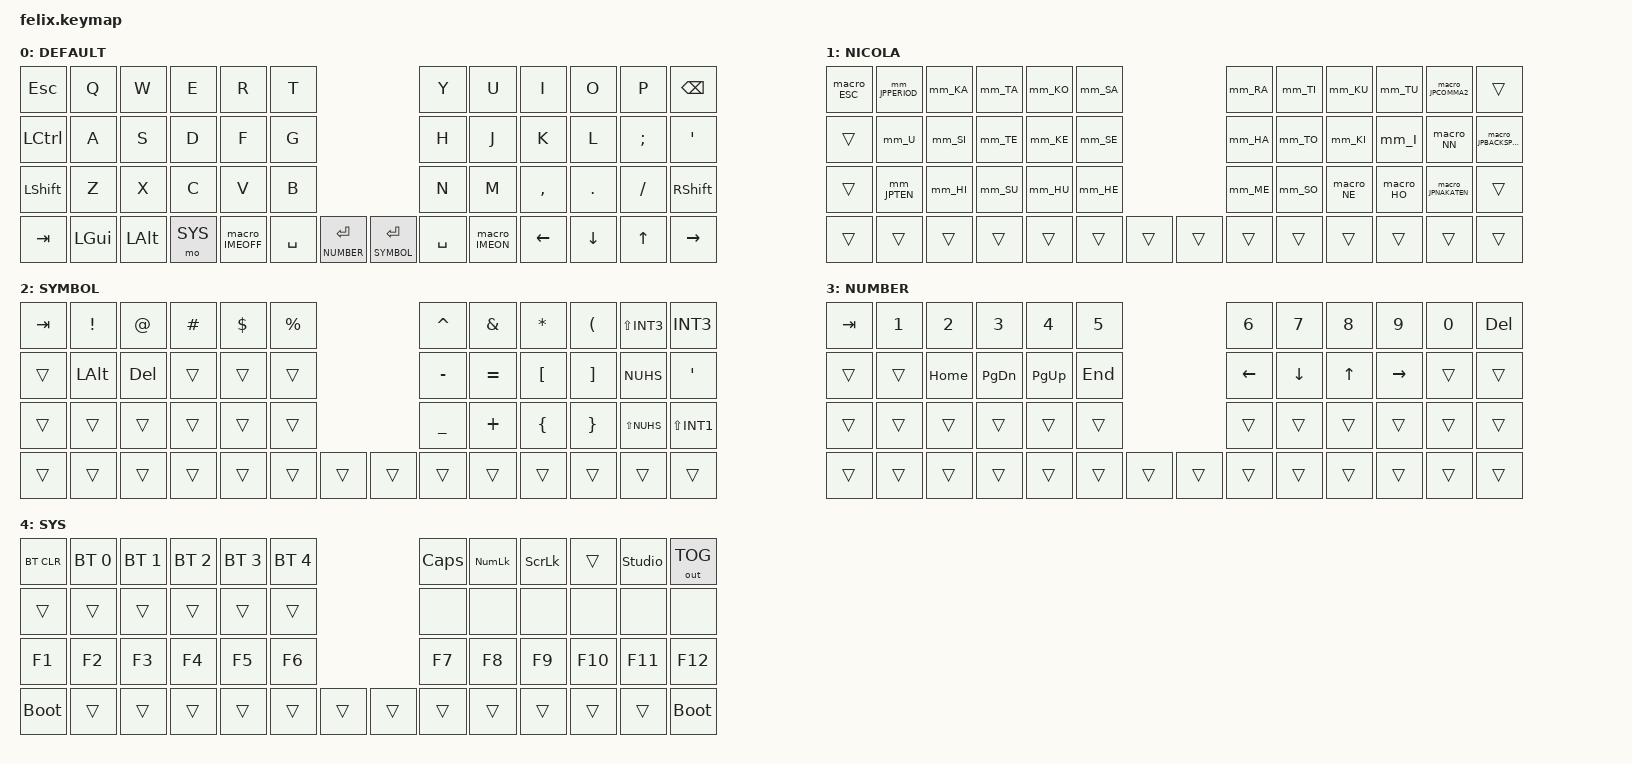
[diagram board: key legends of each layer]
/*
 * Copyright (c) 2020 The ZMK Contributors
 *
 * SPDX-License-Identifier: MIT
 */

#include <behaviors.dtsi>
#include <dt-bindings/zmk/bt.h>
#include <dt-bindings/zmk/keys.h>
#include <dt-bindings/zmk/outputs.h>

#define DEFAULT 0
#define NICOLA  1
#define SYMBOL  2
#define NUMBER  3
#define SYS     4

/ {
    behaviors {
        #include "macros.dtsi"
        #include "behaviors.keymap"
        hm: homerow_mods {
            compatible = "zmk,behavior-hold-tap";
            label = "HOMEROW_MODS";
            #binding-cells = <2>;
            tapping-term-ms = <200>;
            quick_tap_ms = <0>;
            flavor = "tap-preferred";
            bindings = <&kp>, <&kp>;

            quick-tap-ms = <180>;
            global-quick-tap;
        };

        ltq: ltq {
            compatible = "zmk,behavior-hold-tap";
            label = "LTQ";
            bindings = <&mo>, <&kp>;

            #binding-cells = <2>;
            tapping-term-ms = <600>;
            global-quick-tap;
            quick-tap-ms = <400>;
        };
    };

    combos {
        compatible = "zmk,combos";
        #include "combos.keymap"
        left_bkt {
            bindings = <&kp LEFT_BRACKET>;
            key-positions = <4 3>;
            timeout-ms = <50>;
        };

        right_bkt {
            bindings = <&kp RBKT>;
            key-positions = <7 8>;
            timeout-ms = <50>;
        };

        left_par {
            bindings = <&kp LEFT_PARENTHESIS>;
            key-positions = <15 16>;
            timeout-ms = <50>;
        };

        right_par {
            bindings = <&kp RIGHT_PARENTHESIS>;
            key-positions = <19 20>;
            timeout-ms = <50>;
        };

        left_brace {
            bindings = <&kp LEFT_BRACE>;
            key-positions = <27 28>;
            timeout-ms = <50>;
        };

        right_brace {
            bindings = <&kp RIGHT_BRACE>;
            key-positions = <32 31>;
            timeout-ms = <50>;
        };

        bac {
            bindings = <&kp BACKSLASH>;
            key-positions = <5 6>;
        };

        pipe {
            bindings = <&kp PIPE>;
            key-positions = <17 18>;
        };
    };

    keymap {
        compatible = "zmk,keymap";

        default_layer {
            bindings = <
&kp ESC    &kp Q     &kp W     &kp E    &kp R         &kp T                                          &kp Y      &kp U         &kp I      &kp O       &kp P          &kp BACKSPACE
&kp LCTRL  &kp A     &kp S     &kp D    &kp F         &kp G                                          &kp H      &kp J         &kp K      &kp L       &kp SEMICOLON  &kp SQT
&kp LSHFT  &kp Z     &kp X     &kp C    &kp V         &kp B                                          &kp N      &kp M         &kp COMMA  &kp PERIOD  &kp FSLH       &kp RSHFT
&kp TAB    &kp LGUI  &kp LALT  &mo SYS  &macro_IMEOFF &kp SPACE  &lt NUMBER ENTER  &lt SYMBOL ENTER  &kp SPACE  &macro_IMEON  &kp LEFT   &kp DOWN    &kp UP         &kp RIGHT
            >;

            label = "DEFAULT";
        };

        nicola_layer {
            bindings = <
&macro_ESC &mm_JPPERIOD  &mm_KA  &mm_TA  &mm_KO  &mm_SA                 &mm_RA   &mm_TI  &mm_KU     &mm_TU     &macro_JPCOMMA2  &trans
&trans     &mm_U         &mm_SI  &mm_TE  &mm_KE  &mm_SE                 &mm_HA   &mm_TO  &mm_KI     &mm_I      &macro_NN        &macro_JPBACKSPACE
&trans     &mm_JPTEN     &mm_HI  &mm_SU  &mm_HU  &mm_HE                 &mm_ME   &mm_SO  &macro_NE  &macro_HO  &macro_JPNAKATEN &trans
&trans     &trans        &trans  &trans  &trans  &trans  &trans  &trans &trans   &trans  &trans     &trans     &trans           &trans
            >;

            label = "NICOLA";
        };

        symbol_layer {
            bindings = <
&kp TAB   &kp EXCL &kp AT    &kp HASH   &kp DLLR  &kp PRCNT                  &kp CARET &kp AMPS &kp ASTERISK &kp LEFT_PARENTHESIS &kp LS(INT3) &kp INT3
&trans    &kp LALT &kp DEL   &trans     &trans    &trans                     &kp MINUS &kp EQUAL &kp LBKT &kp RBKT &kp NUHS  &kp SQT
&trans    &trans   &trans    &trans     &trans    &trans                     &kp UNDER &kp PLUS &kp LBRC &kp RBRC &kp LS(NUHS) &kp LS(INT1)
&trans    &trans   &trans    &trans     &trans    &trans     &trans  &trans  &trans  &trans  &trans  &trans  &trans  &trans
            >;

            label = "SYMBOL";
        };

        number_layer {
            bindings = <
&kp TAB &kp N1  &kp N2  &kp N3  &kp N4  &kp N5                  &kp N6  &kp N7  &kp N8  &kp N9  &kp N0   &kp DEL
&trans  &trans  &kp HOME &kp PG_DN &kp PG_UP &kp END            &kp LEFT &kp DOWN &kp UP &kp RIGHT  &trans  &trans
&trans  &trans  &trans  &trans  &trans  &trans                  &trans  &trans  &trans  &trans     &trans     &trans
&trans  &trans  &trans  &trans  &trans  &trans  &trans  &trans  &trans  &trans  &trans  &trans     &trans     &trans
            >;

            label = "NUMBER";
        };

        sys_layer {
            bindings = <
&bt BT_CLR   &bt BT_SEL 0  &bt BT_SEL 1  &bt BT_SEL 2  &bt BT_SEL 3  &bt BT_SEL 4                  &kp CAPSLOCK  &kp KP_NUMLOCK  &kp SCROLLLOCK  &trans  &studio_unlock  &out OUT_TOG
&trans       &trans        &trans        &trans        &trans        &trans                        &none         &none           &none           &none   &none           &none
&kp F1       &kp F2        &kp F3        &kp F4        &kp F5        &kp F6                        &kp F7        &kp F8          &kp F9          &kp F10 &kp F11         &kp F12
&bootloader  &trans        &trans        &trans        &trans        &trans        &trans  &trans  &trans        &trans          &trans          &trans  &trans          &bootloader
            >;

            label = "SYS";
        };

        extra1 { status = "reserved"; };

        extra2 { status = "reserved"; };

        extra3 { status = "reserved"; };

        extra4 { status = "reserved"; };
    };
};
